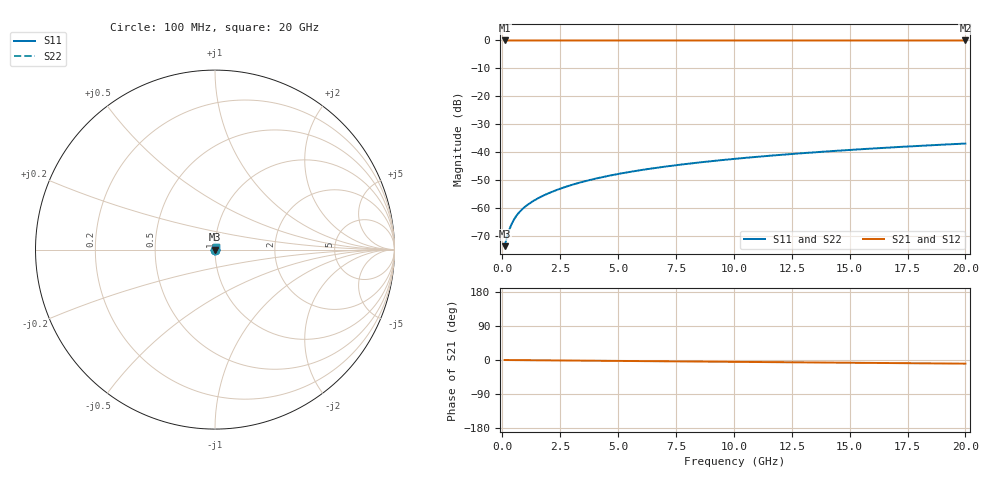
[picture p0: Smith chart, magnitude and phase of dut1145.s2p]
! Touchstone file exported from HFSS 2026.1.0
!  File:  C:/ffzhzh/LocalFiles/Ansys_Project_Files/temp_train_TSV_1145_1783191447_43440.aedt
!  Generated:  02:59:07 AM Jul  5, 2026
!  Design:  TSV
!  Project:  temp_train_TSV_1145_1783191447_43440
! Variables:
!  h_bsmrdl = 2um
!  h_ox = 20um
!  h_rdl = 5um
!  h_sub = 99.06um
!  h_tmrdl = 5um
!  h_tsv = 99.06um
!  h_via = 3um
!  l_bsmrdl = 300um
!  l_sub = 418.44um
!  l_tmrdl = 200um
!  m_sub = 200um
!  pitch = 41.52um
!  r_tsv = 9.22um
!  s_tmrdl = 10um
!  w_bsmrdl = 18um
!  w_sub = 500um
!  w_tmrdl = 12um
!  x_tsv_center1 = 206um
!  x_tsv_center2 = 524um
!  x_tsv_center3 = 736um
!  x_tsv_center4 = 1054um
!  x_tsv_center5 = 1266um
!  x_tsv_center6 = 1584um
# GHz S MA R 50.000000
! Terminal data exported
! Port[1] = TSV1_1_T1
! Port[2] = TSV1_1_T2
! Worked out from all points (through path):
!   200 points, 100 MHz to 20 GHz, reference 50 ohm
!   highest |S21| = 0.00 dB at 100 MHz (marker M1); lowest = 0.0 dB at 20 GHz (marker M2)
!   group delay of S21, straight-line fit = 1.33 ps
!   lowest |S11| = -73.5 dB at 100 MHz (marker M3), VSWR 1.00, Z = 50 + j0.0124 ohm
!   |S11| at or under -10 dB: start of sweep to end of sweep
!   |S22| runs from -73.5 to -36.8 dB; largest |S21 - S12| = 3.1e-15
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0.1  0.0002112 35.8  0.9998 -0.1  0.9998 -0.1  0.0002112 35.8
! Gamma 0 0 0 0
! Port Impedance 50 0 50 0
0.2  0.0003065 52.8  0.9998 -0.1  0.9998 -0.1  0.0003065 52.8
0.3  0.0004145 60.2  0.9998 -0.2  0.9998 -0.2  0.0004145 60.2
0.4  0.0005227 63.6  0.9998 -0.2  0.9998 -0.2  0.0005227 63.6
0.5  0.0006271 65.4  0.9997 -0.3  0.9997 -0.3  0.0006271 65.4
0.6  0.0007266 66.5  0.9997 -0.3  0.9997 -0.3  0.0007266 66.5
0.7  0.0008212 67.2  0.9997 -0.4  0.9997 -0.4  0.0008212 67.2
0.8  0.0009115 67.7  0.9997 -0.4  0.9997 -0.4  0.0009115 67.7
1  0.001082 68.7  0.9996 -0.5  0.9996 -0.5  0.001082 68.7
1.4  0.001402 70.3  0.9995 -0.7  0.9995 -0.7  0.001402 70.3
1.7  0.001635 71.4  0.9995 -0.8  0.9995 -0.8  0.001635 71.4
2  0.001865 72.4  0.9995 -1.0  0.9995 -1.0  0.001865 72.4
2.7  0.002399 74.1  0.9994 -1.3  0.9994 -1.3  0.002399 74.1
3.5  0.003004 75.2  0.9993 -1.7  0.9993 -1.7  0.003004 75.2
4.2  0.003526 75.8  0.9992 -2.0  0.9992 -2.0  0.003526 75.8
5  0.004115 76.1  0.9992 -2.4  0.9992 -2.4  0.004115 76.1
6.8  0.00541 76.5  0.999 -3.3  0.999 -3.3  0.00541 76.5
8.3  0.006467 76.5  0.9989 -4.0  0.9989 -4.0  0.006467 76.5
10.1  0.007719 76.4  0.9988 -4.9  0.9988 -4.9  0.007719 76.4
13.4  0.009984 75.8  0.9986 -6.5  0.9986 -6.5  0.009984 75.8
16.7  0.01221 74.9  0.9984 -8.0  0.9984 -8.0  0.01221 74.9
20  0.01439 73.8  0.9982 -9.6  0.9982 -9.6  0.01439 73.8
